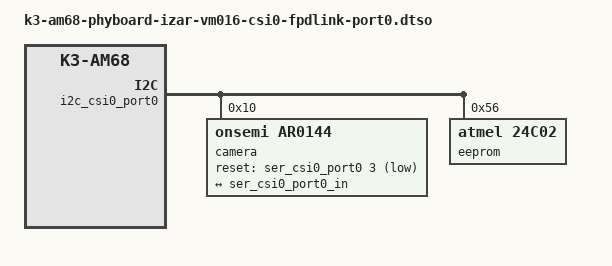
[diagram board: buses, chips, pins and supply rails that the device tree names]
// SPDX-License-Identifier: (GPL-2.0+ OR MIT)
/*
 * Copyright (C) 2025 PHYTEC Messtechnik GmbH
 * Author: Steffen Hemer <s.hemer@phytec.de>
 */

/dts-v1/;
/plugin/;

#include "k3-am68-phyboard-izar-csi0-fpdlink-port0.dtsi"
#include <dt-bindings/gpio/gpio.h>

&i2c_csi0_port0 {
	camera@10 {
		#address-cells = <0x1>;
		#size-cells = <0x0>;

		compatible = "onsemi,ar0144";
		reg = <0x10>;
		clocks = <&ser_csi0_port0>;
		clock-names = "ext";
		isp-bus-info = "csi0";

		assigned-clocks = <&ser_csi0_port0>;
		assigned-clock-rates = <26666666>;

		reset-gpios = <&ser_csi0_port0 3 GPIO_ACTIVE_LOW>;
		onsemi,reset-delay-ms = <100>;

		port@0 {
			reg = <0>;

			vm016_csi0_port0_ep: endpoint {
				remote-endpoint = <&ser_csi0_port0_in>;
				bus-type = <4>; /* MIPI CSI-2 D-PHY */
				link-frequencies = /bits/ 64 <222750000>;
				data-lanes = <1 2>;
				clock-lanes = <0>;
				clock-noncontinuous = <1>;
				onsemi,t-hs-prep = <1>;
				onsemi,t-clk-post = <9>;
			};
		};
	};

	eeprom@56 {
		compatible = "atmel,24c02";
		reg = <0x56>;
		pagesize = <16>;
	};
};

&ser_csi0_port0_in {
	remote-endpoint = <&vm016_csi0_port0_ep>;
	data-lanes = <1 2>;
};
